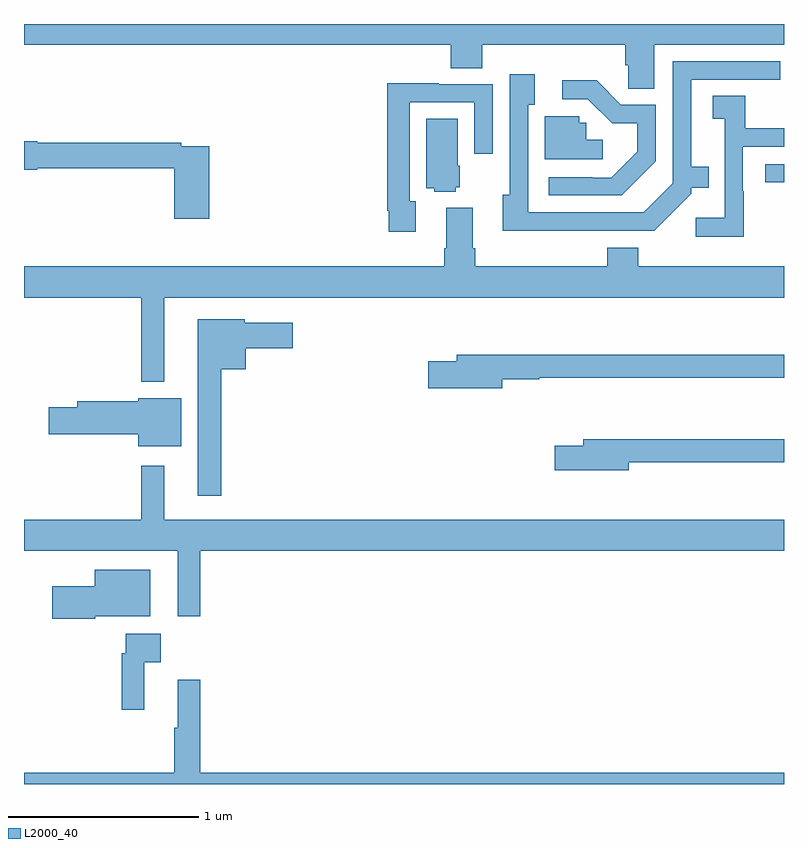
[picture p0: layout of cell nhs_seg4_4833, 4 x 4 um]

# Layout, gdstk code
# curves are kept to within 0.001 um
import gdstk
lib = gdstk.Library(unit=1e-6, precision=1e-09)
def R(c, l, rs):  # rectangles x0, y0, x1, y1
    for r in rs: c.add(gdstk.rectangle(r[:2], r[2:], *l))
def P(c, l, *ps):  # polygons
    for p in ps: c.add(gdstk.Polygon(p, *l))
L2000_40 = (2000, 40)

nhs_seg4_4833 = lib.new_cell('nhs_seg4_4833')
R(nhs_seg4_4833, L2000_40, [(374.901,824.067,375,824.163)])
P(nhs_seg4_4833, L2000_40, [(374.317,824.792),(375,824.792),(375,824.9),(371,824.9),(371,824.792),(373.247,824.792),(373.247,824.668),(373.412,824.668),(373.412,824.792),(374.165,824.792),(374.165,824.682),(374.179,824.682),(374.179,824.56),(374.317,824.56)],
  [(373.985,823.812),(374.316,823.812),(374.511,824.007),(374.511,824.039),(374.603,824.039),(374.603,824.149),(374.512,824.149),(374.512,824.607),(374.98,824.607),(374.98,824.703),(374.415,824.703),(374.415,824.061),(374.262,823.908),(373.653,823.908),(373.653,824.474),(373.687,824.474),(373.687,824.635),(373.557,824.635),(373.557,824.002),(373.52,824.002),(373.52,823.811)],
  [(374.325,824.177),(374.325,824.475),(374.142,824.475),(374.014,824.603),(373.833,824.603),(373.833,824.505),(373.968,824.505),(374.095,824.378),(374.228,824.378),(374.228,824.228),(374.091,824.091),(373.991,824.091),(373.991,824.094),(373.761,824.094),(373.761,823.998),(374.146,823.998)],
  [(373.063,823.967),(373.029,823.967),(373.029,824.487),(373.371,824.487),(373.371,824.217),(373.467,824.217),(373.467,824.583),(373.183,824.583),(373.183,824.587),(372.913,824.587),(372.913,823.918),(372.921,823.918),(372.921,823.806),(373.063,823.806)],
  [(374.787,824.021),(374.784,824.021),(374.784,824.253),(375,824.253),(375,824.352),(374.797,824.352),(374.797,824.522),(374.625,824.522),(374.625,824.401),(374.688,824.401),(374.688,823.879),(374.535,823.879),(374.535,823.781),(374.787,823.781)],
  [(374.047,824.29),(373.959,824.29),(373.959,824.379),(373.923,824.379),(373.923,824.415),(373.742,824.415),(373.742,824.187),(374.047,824.187)],
  [(373.272,824.04),(373.294,824.04),(373.294,824.154),(373.282,824.154),(373.282,824.402),(373.118,824.402),(373.118,824.036),(373.158,824.036),(373.158,824.018),(373.272,824.018)],
  [(371.975,824.256),(371.828,824.256),(371.828,824.276),(371.07,824.276),(371.07,824.282),(371,824.282),(371,824.132),(371.07,824.132),(371.07,824.14),(371.792,824.14),(371.792,823.875),(371.975,823.875)],
  [(371.737,823.46),(375,823.46),(375,823.624),(374.234,823.624),(374.234,823.723),(374.069,823.723),(374.069,823.624),(373.376,823.624),(373.376,823.72),(373.363,823.72),(373.363,823.933),(373.223,823.933),(373.223,823.72),(373.211,823.72),(373.211,823.624),(371,823.624),(371,823.46),(371.616,823.46),(371.616,823.016),(371.737,823.016)],
  [(372.037,823.082),(372.166,823.082),(372.166,823.193),(372.415,823.193),(372.415,823.327),(372.162,823.327),(372.162,823.345),(371.915,823.345),(371.915,822.417),(372.037,822.417)],
  [(373.516,823.03),(373.712,823.03),(373.712,823.038),(375,823.038),(375,823.159),(373.277,823.159),(373.277,823.125),(373.128,823.125),(373.128,822.983),(373.516,822.983)],
  [(371.827,822.931),(371.6,822.931),(371.6,822.914),(371.279,822.914),(371.279,822.884),(371.13,822.884),(371.13,822.742),(371.6,822.742),(371.6,822.677),(371.827,822.677)],
  [(374.182,822.594),(375,822.594),(375,822.715),(373.943,822.715),(373.943,822.681),(373.794,822.681),(373.794,822.551),(374.182,822.551)],
  [(371.927,822.128),(375,822.128),(375,822.292),(371.737,822.292),(371.737,822.574),(371.616,822.574),(371.616,822.292),(371,822.292),(371,822.128),(371.81,822.128),(371.81,821.784),(371.927,821.784)],
  [(371.376,821.783),(371.665,821.783),(371.665,822.028),(371.372,822.028),(371.372,821.941),(371.148,821.941),(371.148,821.771),(371.376,821.771)],
  [(371.633,821.54),(371.719,821.54),(371.719,821.692),(371.535,821.692),(371.535,821.588),(371.515,821.588),(371.515,821.292),(371.633,821.292)],
  [(375,820.96),(371.927,820.96),(371.927,821.449),(371.81,821.449),(371.81,821.196),(371.791,821.196),(371.791,820.96),(371,820.96),(371,820.9),(375,820.9)])

lib.write_gds('nhs_seg4_4833.gds')
